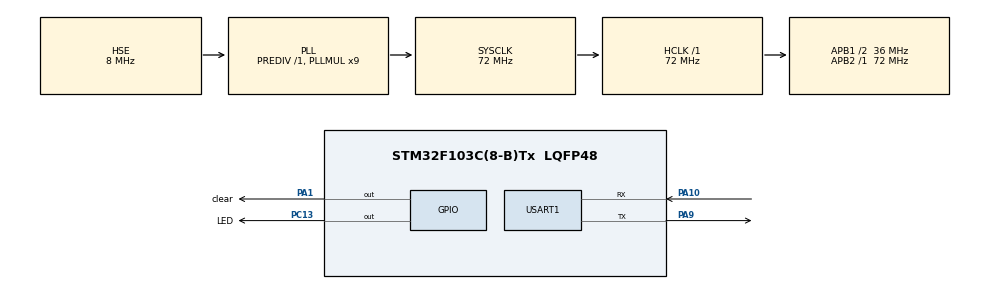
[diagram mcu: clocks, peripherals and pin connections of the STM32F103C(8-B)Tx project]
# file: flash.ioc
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Mcu.Family=STM32F1
Mcu.Name=STM32F103C(8-B)Tx
Mcu.Package=LQFP48
NVIC.PriorityGroup=NVIC_PRIORITYGROUP_4
PA1.GPIO_Label=clear
PA1.PinState=GPIO_PIN_SET
PA1.Signal=GPIO_Output
PA10.Mode=Asynchronous
PA10.Signal=USART1_RX
PA13.Mode=Serial_Wire
PA13.Signal=SYS_JTMS-SWDIO
PA14.Mode=Serial_Wire
PA14.Signal=SYS_JTCK-SWCLK
PA9.Mode=Asynchronous
PA9.Signal=USART1_TX
PC13-TAMPER-RTC.GPIO_Label=LED
PC13-TAMPER-RTC.Signal=GPIO_Output
PC14-OSC32_IN.Mode=LSE-External-Oscillator
PC14-OSC32_IN.Signal=RCC_OSC32_IN
PC15-OSC32_OUT.Mode=LSE-External-Oscillator
PC15-OSC32_OUT.Signal=RCC_OSC32_OUT
PD0-OSC_IN.Mode=HSE-External-Oscillator
PD0-OSC_IN.Signal=RCC_OSC_IN
PD1-OSC_OUT.Mode=HSE-External-Oscillator
PD1-OSC_OUT.Signal=RCC_OSC_OUT
ProjectManager.HeapSize=0x200
ProjectManager.StackSize=0x400
ProjectManager.TargetToolchain=MDK-ARM V5
RCC.AHBFreq_Value=72000000
RCC.APB1CLKDivider=RCC_HCLK_DIV2
RCC.APB1Freq_Value=36000000
RCC.APB1TimFreq_Value=72000000
RCC.APB2Freq_Value=72000000
RCC.APB2TimFreq_Value=72000000
RCC.HCLKFreq_Value=72000000
RCC.PLLMUL=RCC_PLL_MUL9
RCC.PLLSourceVirtual=RCC_PLLSOURCE_HSE
RCC.RTCClockSelection=RCC_RTCCLKSOURCE_LSE
RCC.SYSCLKFreq_VALUE=72000000
RCC.SYSCLKSource=RCC_SYSCLKSOURCE_PLLCLK
RCC.USBFreq_Value=72000000
USART1.VirtualMode=VM_ASYNC
VP_RTC_VS_RTC_Activate.Mode=RTC_Enabled
board=flash

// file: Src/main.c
/**
  ******************************************************************************
  * File Name          : main.c
  * Description        : Main program body
  ******************************************************************************
  *
  * COPYRIGHT(c) 2017 STMicroelectronics
  *
  * Redistribution and use in source and binary forms, with or without modification,
  * are permitted provided that the following conditions are met:
  *   1. Redistributions of source code must retain the above copyright notice,
  *      this list of conditions and the following disclaimer.
  *   2. Redistributions in binary form must reproduce the above copyright notice,
  *      this list of conditions and the following disclaimer in the documentation
  *      and/or other materials provided with the distribution.
  *   3. Neither the name of STMicroelectronics nor the names of its contributors
  *      may be used to endorse or promote products derived from this software
  *      without specific prior written permission.
  *
  * THIS SOFTWARE IS PROVIDED BY THE COPYRIGHT HOLDERS AND CONTRIBUTORS "AS IS"
  * AND ANY EXPRESS OR IMPLIED WARRANTIES, INCLUDING, BUT NOT LIMITED TO, THE
  * IMPLIED WARRANTIES OF MERCHANTABILITY AND FITNESS FOR A PARTICULAR PURPOSE ARE
  * DISCLAIMED. IN NO EVENT SHALL THE COPYRIGHT HOLDER OR CONTRIBUTORS BE LIABLE
  * FOR ANY DIRECT, INDIRECT, INCIDENTAL, SPECIAL, EXEMPLARY, OR CONSEQUENTIAL
  * DAMAGES (INCLUDING, BUT NOT LIMITED TO, PROCUREMENT OF SUBSTITUTE GOODS OR
  * SERVICES; LOSS OF USE, DATA, OR PROFITS; OR BUSINESS INTERRUPTION) HOWEVER
  * CAUSED AND ON ANY THEORY OF LIABILITY, WHETHER IN CONTRACT, STRICT LIABILITY,
  * OR TORT (INCLUDING NEGLIGENCE OR OTHERWISE) ARISING IN ANY WAY OUT OF THE USE
  * OF THIS SOFTWARE, EVEN IF ADVISED OF THE POSSIBILITY OF SUCH DAMAGE.
  *
  ******************************************************************************
  */
#include "main.h"
#include "stm32f1xx_hal.h"

/* USER CODE BEGIN Includes */
#include <stdarg.h>
/* USER CODE END Includes */

RTC_HandleTypeDef hrtc;

UART_HandleTypeDef huart1;

/* USER CODE BEGIN PV */
/* Private variables ---------------------------------------------------------*/
FLASH_OBProgramInitTypeDef OBInit;

char debug_log_on = '0';
static char buffer[512];
/* USER CODE END PV */

void SystemClock_Config(void);
void Error_Handler(void);
static void MX_GPIO_Init(void);
static void MX_RTC_Init(void);
static void MX_USART1_UART_Init(void);

/* USER CODE BEGIN PFP */
/* Private function prototypes -----------------------------------------------*/
static void flash_protect_function(void);
static void flash_clear_protect_function(void);
/* USER CODE END PFP */

/* USER CODE BEGIN 0 */
static void sendstring(char *str)
{
    while(*str!='\0')
    {
        USART1->DR = (*str & 0x1FF);
        while(!(USART1->SR & UART_FLAG_TXE));
        str++;
    }
}

void log_printf(char* format,...)
{
    va_list ap;
    char len = 0;
    char print_level = '0';
    char *p = format;

    if (p[0] == '<' && p[1] >= '0' && p[1] <= '9' && p[2] == '>') {
        len  = 3;
        print_level = p[1];
    }
    if(debug_log_on + '0' >= print_level)
    {
        va_start(ap, format);
        vsprintf(buffer, format,ap);
        sendstring(buffer + len);
        va_end(ap);
    }

}
/* USER CODE END 0 */

int main(void)
{

  /* MCU Configuration----------------------------------------------------------*/

  /* Reset of all peripherals, Initializes the Flash interface and the Systick. */
  HAL_Init();

  /* Configure the system clock */
  SystemClock_Config();

  /* Initialize all configured peripherals */
  MX_GPIO_Init();
  MX_RTC_Init();
  MX_USART1_UART_Init();

  /* USER CODE BEGIN 2 */
  flash_protect_function();
  /* USER CODE END 2 */

  /* Infinite loop */
  while (1)
  {

  /* USER CODE BEGIN 3 */
  log_printf("hello world!\r\n");
  HAL_Delay(5000);
      if(HAL_GPIO_ReadPin(clear_GPIO_Port,clear_Pin) == RESET)
          flash_clear_protect_function();
  }
  /* USER CODE END 3 */

}

/** System Clock Configuration
*/
void SystemClock_Config(void)
{

  RCC_OscInitTypeDef RCC_OscInitStruct;
  RCC_ClkInitTypeDef RCC_ClkInitStruct;
  RCC_PeriphCLKInitTypeDef PeriphClkInit;

    /**Initializes the CPU, AHB and APB busses clocks
    */
  RCC_OscInitStruct.OscillatorType = RCC_OSCILLATORTYPE_HSE|RCC_OSCILLATORTYPE_LSE;
  RCC_OscInitStruct.HSEState = RCC_HSE_ON;
  RCC_OscInitStruct.HSEPredivValue = RCC_HSE_PREDIV_DIV1;
  RCC_OscInitStruct.LSEState = RCC_LSE_ON;
  RCC_OscInitStruct.HSIState = RCC_HSI_ON;
  RCC_OscInitStruct.PLL.PLLState = RCC_PLL_ON;
  RCC_OscInitStruct.PLL.PLLSource = RCC_PLLSOURCE_HSE;
  RCC_OscInitStruct.PLL.PLLMUL = RCC_PLL_MUL9;
  if (HAL_RCC_OscConfig(&RCC_OscInitStruct) != HAL_OK)
  {
    Error_Handler();
  }

    /**Initializes the CPU, AHB and APB busses clocks
    */
  RCC_ClkInitStruct.ClockType = RCC_CLOCKTYPE_HCLK|RCC_CLOCKTYPE_SYSCLK
                              |RCC_CLOCKTYPE_PCLK1|RCC_CLOCKTYPE_PCLK2;
  RCC_ClkInitStruct.SYSCLKSource = RCC_SYSCLKSOURCE_PLLCLK;
  RCC_ClkInitStruct.AHBCLKDivider = RCC_SYSCLK_DIV1;
  RCC_ClkInitStruct.APB1CLKDivider = RCC_HCLK_DIV2;
  RCC_ClkInitStruct.APB2CLKDivider = RCC_HCLK_DIV1;

  if (HAL_RCC_ClockConfig(&RCC_ClkInitStruct, FLASH_LATENCY_2) != HAL_OK)
  {
    Error_Handler();
  }

  PeriphClkInit.PeriphClockSelection = RCC_PERIPHCLK_RTC;
  PeriphClkInit.RTCClockSelection = RCC_RTCCLKSOURCE_LSE;
  if (HAL_RCCEx_PeriphCLKConfig(&PeriphClkInit) != HAL_OK)
  {
    Error_Handler();
  }

    /**Configure the Systick interrupt time
    */
  HAL_SYSTICK_Config(HAL_RCC_GetHCLKFreq()/1000);

    /**Configure the Systick
    */
  HAL_SYSTICK_CLKSourceConfig(SYSTICK_CLKSOURCE_HCLK);

  /* SysTick_IRQn interrupt configuration */
  HAL_NVIC_SetPriority(SysTick_IRQn, 0, 0);
}

/* RTC init function */
static void MX_RTC_Init(void)
{

    /**Initialize RTC Only
    */
  hrtc.Instance = RTC;
  hrtc.Init.AsynchPrediv = RTC_AUTO_1_SECOND;
  hrtc.Init.OutPut = RTC_OUTPUTSOURCE_ALARM;
  if (HAL_RTC_Init(&hrtc) != HAL_OK)
  {
    Error_Handler();
  }

}

/* USART1 init function */
static void MX_USART1_UART_Init(void)
{

  huart1.Instance = USART1;
  huart1.Init.BaudRate = 115200;
  huart1.Init.WordLength = UART_WORDLENGTH_8B;
  huart1.Init.StopBits = UART_STOPBITS_1;
  huart1.Init.Parity = UART_PARITY_NONE;
  huart1.Init.Mode = UART_MODE_TX_RX;
  huart1.Init.HwFlowCtl = UART_HWCONTROL_NONE;
  huart1.Init.OverSampling = UART_OVERSAMPLING_16;
  if (HAL_UART_Init(&huart1) != HAL_OK)
  {
    Error_Handler();
  }

}

/** Configure pins as
        * Analog
        * Input
        * Output
        * EVENT_OUT
        * EXTI
*/
static void MX_GPIO_Init(void)
{

  GPIO_InitTypeDef GPIO_InitStruct;

  /* GPIO Ports Clock Enable */
  __HAL_RCC_GPIOC_CLK_ENABLE();
  __HAL_RCC_GPIOD_CLK_ENABLE();
  __HAL_RCC_GPIOA_CLK_ENABLE();

  /*Configure GPIO pin Output Level */
  HAL_GPIO_WritePin(LED_GPIO_Port, LED_Pin, GPIO_PIN_RESET);

  /*Configure GPIO pin Output Level */
  HAL_GPIO_WritePin(clear_GPIO_Port, clear_Pin, GPIO_PIN_SET);

  /*Configure GPIO pin : LED_Pin */
  GPIO_InitStruct.Pin = LED_Pin;
  GPIO_InitStruct.Mode = GPIO_MODE_OUTPUT_PP;
  GPIO_InitStruct.Speed = GPIO_SPEED_FREQ_LOW;
  HAL_GPIO_Init(LED_GPIO_Port, &GPIO_InitStruct);

  /*Configure GPIO pin : clear_Pin */
  GPIO_InitStruct.Pin = clear_Pin;
  GPIO_InitStruct.Mode = GPIO_MODE_OUTPUT_PP;
  GPIO_InitStruct.Speed = GPIO_SPEED_FREQ_LOW;
  HAL_GPIO_Init(clear_GPIO_Port, &GPIO_InitStruct);

}

/* USER CODE BEGIN 4 */
static void flash_protect_function(void)
{
//    __HAL_FLASH_PREFETCH_BUFFER_DISABLE();
    HAL_FLASHEx_OBGetConfig(&OBInit);
    log_printf("OBInit.RDPLevel :%x\r\n",OBInit.RDPLevel);
    if(OBInit.RDPLevel == OB_RDP_LEVEL_0)
    {
        OBInit.OptionType = OPTIONBYTE_RDP;
        OBInit.RDPLevel = OB_RDP_LEVEL_1;
        HAL_FLASH_Unlock();
        HAL_FLASH_OB_Unlock();
        HAL_FLASHEx_OBProgram(&OBInit);
        HAL_FLASH_OB_Launch();
        HAL_FLASH_OB_Lock();
        HAL_FLASH_Lock();
//        __set_FAULTMASK(1);
//        NVIC_SystemReset();
    }

//    __HAL_FLASH_PREFETCH_BUFFER_ENABLE();

}

static void flash_clear_protect_function(void)
{
//    __HAL_FLASH_PREFETCH_BUFFER_DISABLE();
    HAL_FLASHEx_OBGetConfig(&OBInit);
    log_printf("OBInit.RDPLevel :%x\r\n",OBInit.RDPLevel);
    if(OBInit.RDPLevel == OB_RDP_LEVEL_1)
    {
        OBInit.OptionType = OPTIONBYTE_RDP;
        OBInit.RDPLevel = OB_RDP_LEVEL_0;
        HAL_FLASH_Unlock();
        HAL_FLASH_OB_Unlock();
        HAL_FLASHEx_OBProgram(&OBInit);
        HAL_FLASH_OB_Launch();
        HAL_FLASH_OB_Lock();
        HAL_FLASH_Lock();
//        __set_FAULTMASK(1);
//        NVIC_SystemReset();
    }
//    __HAL_FLASH_PREFETCH_BUFFER_ENABLE();

}
/* USER CODE END 4 */

void Error_Handler(void)
{
  while(1)
  {
  }
}

/************************ (C) COPYRIGHT STMicroelectronics *****END OF FILE****/
